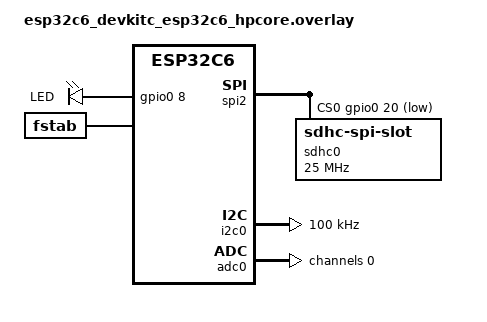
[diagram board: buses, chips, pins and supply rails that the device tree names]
/*
 * AkiraOS Device Tree Overlay — esp32c6_devkitc/esp32c6/hpcore
 *
 * ESP32-C6 DevKitC (RISC-V HP Core @ 160MHz)
 * Module: ESP32-C6-WROOM-1-N8 (8MB Flash, 512KB SRAM)
 * Radios: WiFi 6 (802.11ax) + BLE 5.3 + IEEE 802.15.4
 *
 * Upstream base DTS already enables:
 *   uart0 (TX=GPIO16, RX=GPIO17), gpio0, wdt0, wifi, ieee802154, esp32_bt_hci
 * Upstream pinctrl dtsi defines:
 *   spim2_default: MISO=GPIO2, SCLK=GPIO6, CSEL=GPIO10, MOSI=GPIO7
 *   i2c0_default:  SDA=GPIO6, SCL=GPIO7   ← CONFLICT with SPI2!
 *
 * CRITICAL: SPI2 and I2C0 share GPIO6/GPIO7 in upstream defaults.
 * This overlay remaps I2C0 to GPIO21 (SDA) / GPIO22 (SCL).
 *
 * SPI2 peripheral map (this overlay):
 *   MISO=GPIO2, SCLK=GPIO6, MOSI=GPIO7, HW-CS=GPIO10
 *   SD card SW-CS=GPIO20 via cs-gpios[0]
 *
 * I2C0 (remapped, this overlay):
 *   SDA=GPIO21, SCL=GPIO22
 */

#include <zephyr/dt-bindings/gpio/gpio.h>
#include <zephyr/dt-bindings/pinctrl/esp-pinctrl-common.h>
#include <dt-bindings/pinctrl/esp32c6-pinctrl.h>
#include <zephyr/dt-bindings/pinctrl/esp32c6-gpio-sigmap.h>

/* =========================================================================
 * Pin Controller — remap I2C0 away from SPI2's GPIO6/GPIO7
 * ========================================================================= */
&pinctrl {
	i2c0_akira: i2c0_akira {
		group1 {
			/* SDA=GPIO21, SCL=GPIO22 — free pins on DevKitC header */
			pinmux = <I2C0_SDA_GPIO21>,
				 <I2C0_SCL_GPIO22>;
			bias-pull-up;
			drive-open-drain;
			output-high;
		};
	};
};

/* =========================================================================
 * SPI2 — add SD card as a software-CS child device
 *
 * The upstream base DTS already sets pinctrl-0 = <&spim2_default> and
 * #address-cells/#size-cells. This overlay adds cs-gpios and the sdhc node.
 * Hardware CS (GPIO10) remains available for a display or other device.
 *
 * SD card CS: GPIO20 (software-managed, cs-gpios[0]).
 * ========================================================================= */
&spi2 {
	status = "okay";
	cs-gpios = <&gpio0 20 GPIO_ACTIVE_LOW>;

	sdhc0: sdhc@0 {
		compatible = "zephyr,sdhc-spi-slot";
		reg = <0>;              /* uses cs-gpios[0] = GPIO20 */
		status = "okay";
		spi-max-frequency = <25000000>;    /* 25 MHz — SD SPI max */

		mmc {
			compatible = "zephyr,sdmmc-disk";
			disk-name = "SD";
			status = "okay";
		};
	};
};

/* =========================================================================
 * I2C0 — remapped to GPIO21 (SDA) / GPIO22 (SCL)
 * ========================================================================= */
&i2c0 {
	status = "okay";
	pinctrl-0 = <&i2c0_akira>;
	pinctrl-names = "default";
	clock-frequency = <I2C_BITRATE_STANDARD>;
};

/* =========================================================================
 * ADC — SAR ADC, channel 0
 * ========================================================================= */
&adc0 {
	status = "okay";
	#address-cells = <1>;
	#size-cells = <0>;

	channel@0 {
		reg = <0>;
		zephyr,gain = "ADC_GAIN_1";
		zephyr,reference = "ADC_REF_INTERNAL";
		zephyr,acquisition-time = <ADC_ACQ_TIME_DEFAULT>;
		zephyr,resolution = <12>;
	};
};

/* =========================================================================
 * Flash Partitions — AkiraOS-specific
 *
 * The upstream partitions_0x0_default.dtsi (4MB table) occupies 0x0–0x3FFFFF.
 * WROOM-N8 has 8MB flash; AkiraOS partitions live in the second 4MB.
 *
 *   NVS settings:  32KB @ 0x400000   — persistent settings store
 *   LittleFS:     512KB @ 0x408000   — WASM app storage (XIP-from-Flash path)
 *
 * WASM binaries are stored in LittleFS on flash and loaded by the WAMR
 * interpreter. Code executes via the ESP32-C6 flash cache (XIP by default).
 * ========================================================================= */
&flash0 {
	partitions {
		akira_settings_nvs_partition: partition@400000 {
			label = "akira_settings_nvs";
			reg = <0x00400000 DT_SIZE_K(32)>;
		};

		lfs1_partition: partition@408000 {
			label = "lfs_storage";
			reg = <0x00408000 DT_SIZE_K(512)>;
		};
	};
};

/* =========================================================================
 * Root nodes — aliases, LEDs, fstab
 * ========================================================================= */
/ {
	aliases {
		led0      = &led0;
		akira-adc = &adc0;
		/* sw0 alias already defined in upstream base DTS (GPIO9 boot button) */
	};

	leds {
		compatible = "gpio-leds";
		led0: led_0 {
			/* ESP32-C6 DevKitC RGB LED is on GPIO8 (WS2812 or plain GPIO) */
			gpios = <&gpio0 8 GPIO_ACTIVE_HIGH>;
			label = "LED";
		};
	};

	chosen {
		zephyr,console            = &uart0;
		zephyr,shell-uart         = &uart0;
		zephyr,settings-partition = &akira_settings_nvs_partition;
	};

	fstab {
		compatible = "zephyr,fstab";

		lfs1: lfs1 {
			compatible = "zephyr,fstab,littlefs";
			read-size      = <1>;
			prog-size      = <16>;
			cache-size     = <256>;
			lookahead-size = <32>;
			block-cycles   = <512>;
			partition      = <&lfs1_partition>;
			mount-point    = "/lfs";
		};
	};
};
